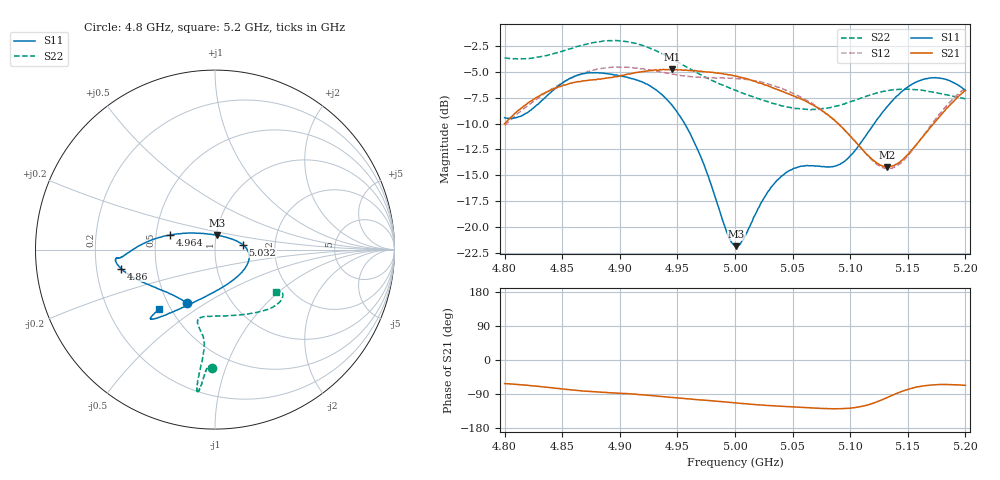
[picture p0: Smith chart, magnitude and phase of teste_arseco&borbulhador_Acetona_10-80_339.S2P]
! Network Analyzer HP8722D
! Hewlett-Packard
! Data name: Linha & Wilkinson
! Saver's name: Rodrigo Anjos
! Comments: Teste da utilização de aquisição
! continua pelo VNA HP8722D
! Time and date: 17/4/2025 17:11
!  Frequency  S11  S21  S12  S22
# HZ  S  MA R 50
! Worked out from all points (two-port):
!   401 points, 4.8 GHz to 5.2 GHz, reference 50 ohm
!   highest |S21| = -4.76 dB at 4.945 GHz (marker M1); lowest = -14.2 dB at 5.132 GHz (marker M2)
!   |S21| within 3 dB of the highest: 4.824 GHz to 5.06 GHz (236.4 MHz wide, 4.78 % of centre); 5.190568 GHz to end of sweep
!   lowest |S11| = -21.9 dB at 5.001 GHz (marker M3), VSWR 1.18, Z = 50.7 + j8.12 ohm
!   |S11| at or under -10 dB: 4.956 GHz to 5.121 GHz (164.8 MHz wide, 3.27 % of centre)
!   |S22| runs from -8.7 to -2.0 dB; largest |S21 - S12| = 0.87
!   S11 on the Smith chart (normalised r, x): 4.8 GHz: 0.62, -0.42; 4.86 GHz: 0.31, -0.09; 4.964 GHz: 0.59, +0.10; 5.032 GHz: 1.36, +0.08; 5.2 GHz: 0.43, -0.36
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4.8e9  0.3375 -117.2  0.3156 -62.3  0.3104 -176.6  0.6581 -91.4
4.818e9  0.3531 -136.3  0.3886 -66.3  0.3789 -176.2  0.651 -93.0
4.86e9  0.5338 -168.6  0.5002 -79.6  0.532 -179.6  0.7354 -95.5
4.867e9  0.5497 -171.2  0.5072 -81.5  0.5511 179.1  0.757 -95.7
4.898e9  0.5418 -175.1  0.5335 -87.3  0.5922 173.3  0.7975 -97.0
4.934e9  0.4493 179.3  0.5737 -95.9  0.5664 169.9  0.701 -97.3
4.945e9  0.3904 174.4  0.5782 -98.7  0.5494 170.2  0.6525 -96.9
4.964e9  0.2619 161.8  0.5695 -103.6  0.5316 171.8  0.5691 -96.3
4.993e9  0.0939 112.1  0.5475 -111.1  0.5245 174.2  0.4769 -98.8
5e9  0.08112 84.6  0.5378 -113.2  0.5234 174.1  0.4589 -100.1
5.001e9  0.08065 80.2  0.5362 -113.2  0.5222 174.2  0.4579 -100.3
5.007e9  0.08623 56.5  0.526 -114.8  0.518 174.1  0.443 -101.5
5.032e9  0.1568 10.2  0.4725 -120.6  0.4855 173.0  0.3971 -103.1
5.049e9  0.1889 -5.9  0.4334 -123.4  0.4466 172.4  0.3766 -98.6
5.067e9  0.1978 -25.3  0.3909 -126.4  0.3966 172.0  0.3708 -88.3
5.096e9  0.2098 -75.6  0.2903 -127.9  0.2914 174.9  0.3961 -65.9
5.119e9  0.3057 -110.0  0.2124 -114.9  0.21 -170.2  0.4384 -50.5
5.132e9  0.3812 -120.4  0.1951 -99.1  0.1916 -152.6  0.4552 -44.1
5.134e9  0.3924 -121.7  0.1955 -96.6  0.1913 -149.7  0.4581 -43.3
5.146e9  0.4576 -127.1  0.2128 -81.5  0.2084 -132.3  0.4642 -38.9
5.168e9  0.5243 -132.3  0.2955 -66.9  0.2995 -113.1  0.4521 -33.4
5.2e9  0.4573 -133.3  0.4577 -67.0  0.4697 -109.1  0.4169 -35.0
